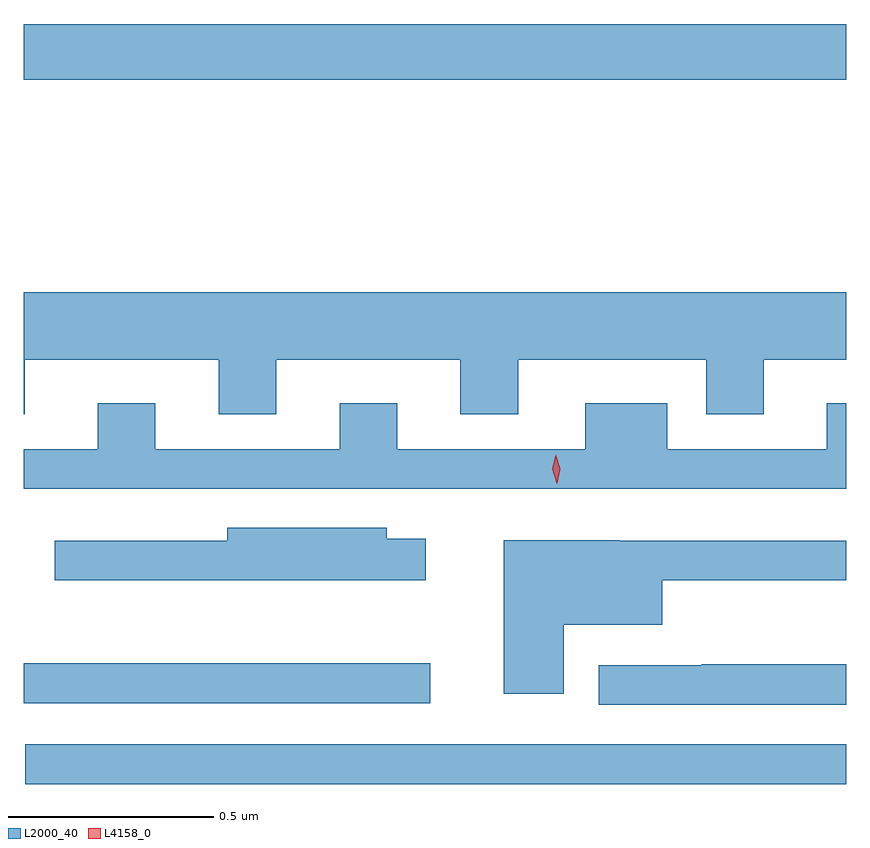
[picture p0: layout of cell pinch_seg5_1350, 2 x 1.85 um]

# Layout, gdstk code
import gdstk
lib = gdstk.Library(unit=1e-6, precision=1e-09)
def R(c, l, rs):  # rectangles x0, y0, x1, y1
    for r in rs: c.add(gdstk.rectangle(r[:2], r[2:], *l))
def P(c, l, *ps):  # polygons
    for p in ps: c.add(gdstk.Polygon(p, *l))
L2000_40 = (2000, 40)
L4158_0 = (4158, 0)

pinch_seg5_1350 = lib.new_cell('pinch_seg5_1350')
R(pinch_seg5_1350, L2000_40, [(513.381,850.4,515.377,850.497), (513.377,850.596,514.366,850.694), (513.377,852.112,515.377,852.248)])
P(pinch_seg5_1350, L2000_40, [(513.379,851.432),(513.851,851.432),(513.851,851.299),(513.991,851.299),(513.991,851.432),(514.439,851.432),(514.439,851.299),(514.579,851.299),(514.579,851.432),(515.036,851.432),(515.036,851.299),(515.176,851.299),(515.176,851.432),(515.377,851.432),(515.377,851.596),(513.377,851.596),(513.377,851.299),(513.379,851.299)],
  [(515.377,851.326),(515.33,851.326),(515.33,851.214),(514.942,851.214),(514.942,851.326),(514.742,851.326),(514.742,851.214),(514.285,851.214),(514.285,851.326),(514.145,851.326),(514.145,851.214),(513.697,851.214),(513.697,851.326),(513.557,851.326),(513.557,851.214),(513.377,851.214),(513.377,851.118),(515.377,851.118)],
  [(514.354,850.996),(514.26,850.996),(514.26,851.023),(513.872,851.023),(513.872,850.992),(513.453,850.992),(513.453,850.895),(514.354,850.895)],
  [(514.69,850.787),(514.93,850.787),(514.93,850.895),(515.377,850.895),(515.377,850.992),(514.826,850.992),(514.826,850.993),(514.544,850.993),(514.544,850.62),(514.69,850.62)],
  [(515.377,850.691),(515.026,850.691),(515.026,850.689),(514.775,850.689),(514.775,850.593),(515.377,850.593)])
P(pinch_seg5_1350, L4158_0, [(514.673,851.13),(514.673,851.131),(514.662,851.166),(514.671,851.201),(514.671,851.201),(514.671,851.201),(514.682,851.166),(514.674,851.131)])

lib.write_gds('pinch_seg5_1350.gds')
